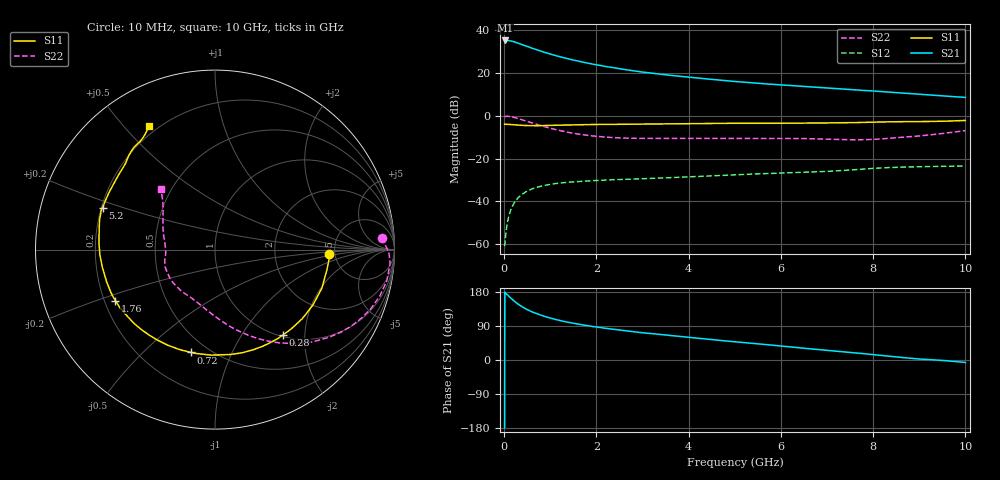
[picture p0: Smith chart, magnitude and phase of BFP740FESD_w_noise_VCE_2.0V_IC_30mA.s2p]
! Infineon Technologies  Discrete & RF Semiconductors
! BFP740FESD
! VCE =  2.0 V,  IC =  30 mA
! Common Emitter S-Parameters:  Jan 2016
# GHz  S  MA  R  50
!  f  S11  S21  S12  S22
! GHz  MAG  ANG  MAG  ANG  MAG  ANG  MAG  ANG
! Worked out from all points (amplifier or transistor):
!   233 points, 10 MHz to 10 GHz, reference 50 ohm
!   highest |S21| = 35.2 dB at 20 MHz (marker M1)
!   |S21| within 3 dB of that: start of sweep to 527.6 MHz
!   unconditionally stable (mu >= 1): 5.111 GHz to end of sweep
!   at 200 MHz: K = 0.12, MSG = 38.1 dB, |S12| = -41.4 dB
!   at 1.74 GHz: K = 0.55, MSG = 27.7 dB, |S12| = -30.5 dB
!   at 10 GHz: K = 1.15, MAG = 13.7 dB, |S12| = -23.5 dB
!   lowest NFmin = 0.98 dB at 450 MHz
!   S11 on the Smith chart (normalised r, x): 10 MHz: 4.47, -0.33; 280 MHz: 1.03, -1.55; 720 MHz: 0.41, -0.71; 1.76 GHz: 0.24, -0.23; 5.2 GHz: 0.20, +0.17; 10 GHz: 0.17, +0.59
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0.01  0.6358 -2.0  56.97 -179.4  0.0009 125.0  0.9312 4.0
0.02  0.6382 -4.3  57.64 177.9  0.0011 91.5  0.9689 -0.9
0.1  0.633 -19.8  57.4 168.7  0.0045 80.7  0.9728 -10.4
0.15  0.6268 -29.5  56.1 162.7  0.0067 77.2  0.9533 -15.9
0.195  0.6202 -37.4  54.56 157.9  0.0083 74.1  0.9297 -20.5
0.28  0.6078 -51.5  50.97 149.5  0.0114 68.0  0.8776 -28.2
0.36  0.6003 -63.6  47.59 142.8  0.0139 63.5  0.826 -34.7
0.45  0.5944 -75.4  43.8 136.2  0.0163 59.0  0.7691 -41.0
0.6  0.5884 -92.1  38.24 127.1  0.0195 52.9  0.6816 -50.1
0.72  0.5883 -103.0  34.49 121.5  0.0216 48.9  0.6226 -56.3
0.9  0.5943 -116.4  29.87 114.1  0.024 44.3  0.5482 -64.5
1.12  0.6022 -129.1  25.48 106.8  0.0262 40.2  0.4761 -73.2
1.4  0.6128 -141.6  21.27 99.2  0.0281 36.5  0.4088 -83.2
1.68  0.6215 -150.8  18.22 93.0  0.0295 34.1  0.3644 -91.6
1.76  0.6234 -152.9  17.46 91.5  0.0298 33.6  0.3549 -93.8
2.58  0.635 -170.6  12.22 77.7  0.0327 31.1  0.3021 -113.8
3.4  0.6459 178.0  9.34 67.2  0.0352 31.4  0.2974 -125.9
5.1  0.6694 160.4  6.222 47.0  0.0422 32.5  0.2975 -143.9
5.2  0.6691 159.5  6.099 46.0  0.0427 32.5  0.2972 -144.8
6.8  0.6783 142.9  4.606 27.7  0.0495 32.0  0.2886 -165.7
8.4  0.7247 129.1  3.548 9.3  0.0621 29.0  0.3012 162.8
10  0.7791 118.2  2.697 -6.5  0.0672 21.1  0.4507 131.8
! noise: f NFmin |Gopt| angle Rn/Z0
0.45  0.98  0.16  -169  0.08
2.4  1.01  0.17  -160  0.09
5.5  1.18  0.22  -171  0.09
10  1.68  0.42  -113  0.22
